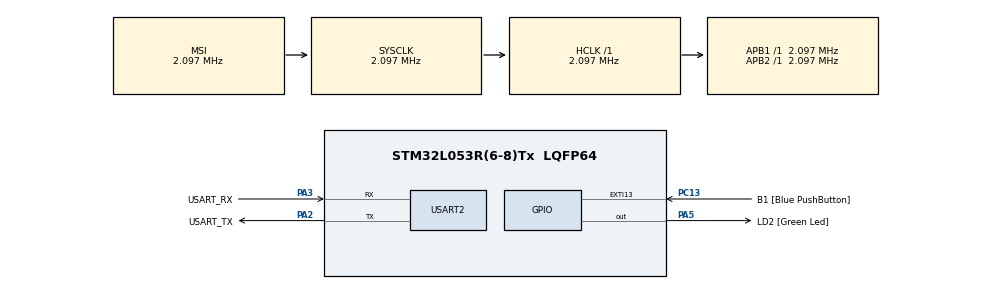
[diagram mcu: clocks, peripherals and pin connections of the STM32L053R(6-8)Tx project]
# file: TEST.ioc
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Mcu.Family=STM32L0
Mcu.Name=STM32L053R(6-8)Tx
Mcu.Package=LQFP64
NVIC.USART2_IRQn=true\:0\:0\:true\:false\:true\:true\:true\:false
PA13.GPIO_Label=TMS
PA13.Mode=Serial_Wire
PA13.Signal=SYS_SWDIO
PA14.GPIO_Label=TCK
PA14.Mode=Serial_Wire
PA14.Signal=SYS_SWCLK
PA2.GPIO_Label=USART_TX
PA2.Mode=Asynchronous
PA2.Signal=USART2_TX
PA3.GPIO_Label=USART_RX
PA3.Mode=Asynchronous
PA3.Signal=USART2_RX
PA5.GPIO_Label=LD2 [Green Led]
PA5.Signal=GPIO_Output
PC13.GPIO_Label=B1 [Blue PushButton]
PC13.GPIO_ModeDefaultEXTI=GPIO_MODE_IT_FALLING
PC13.Signal=GPXTI13
PC14-OSC32_IN.Mode=LSE-External-Oscillator
PC14-OSC32_IN.Signal=RCC_OSC32_IN
PC15-OSC32_OUT.Mode=LSE-External-Oscillator
PC15-OSC32_OUT.Signal=RCC_OSC32_OUT
PH0-OSC_IN.Mode=HSE-External-Clock-Source
PH0-OSC_IN.Signal=RCC_OSC_IN
PH1-OSC_OUT.Signal=RCC_OSC_OUT
ProjectManager.HeapSize=0x200
ProjectManager.StackSize=0x400
ProjectManager.TargetToolchain=CMake
RCC.AHBFreq_Value=2097000
RCC.APB1Freq_Value=2097000
RCC.APB1TimFreq_Value=2097000
RCC.APB2Freq_Value=2097000
RCC.APB2TimFreq_Value=2097000
RCC.HSE_VALUE=8000000
RCC.HSI16_VALUE=16000000
RCC.HSI48_VALUE=48000000
RCC.HSI_VALUE=16000000
RCC.MSI_VALUE=2097000
RCC.SYSCLKFreq_VALUE=2097000
RCC.VCOOutputFreq_Value=48000000
USART2.VirtualMode-Asynchronous=VM_ASYNC
board=NUCLEO-L053R8

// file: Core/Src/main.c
/* USER CODE BEGIN Header */
/**
  ******************************************************************************
  * @file           : main.c
  * @brief          : Main program body for MPPT communication via UART.
  ******************************************************************************
  * @attention
  *
  * (License text here)
  *
  ******************************************************************************
  */
/* USER CODE END Header */
#include "main.h"

/* USER CODE BEGIN Includes */
#include <string.h>
#include "mppt.h"
#include <stdio.h>
#include <stdlib.h>
/* USER CODE END Includes */

UART_HandleTypeDef huart2;

/* USER CODE BEGIN PV */
MPPT_t mppt;

uint8_t rx_byte;
char uart_rx_buffer[128];
char uart_tx_buffer[128];
volatile uint8_t idx = 0;
volatile uint8_t line_received = 0;
/* USER CODE END PV */

void SystemClock_Config(void);
static void MX_GPIO_Init(void);
static void MX_USART2_UART_Init(void);

/* USER CODE BEGIN 0 */

/**
  * @brief Callback that is called when a UART byte is received via interrupt.
  *        It accumulates bytes into uart_rx_buffer until a newline is received.
*/

void HAL_UART_RxCpltCallback(UART_HandleTypeDef *huart)
{
  if (huart->Instance == USART2)
  {
    //char dbg[32];
    //snprintf(dbg, sizeof(dbg), "Got: 0x%02X\r\n", rx_byte);
    //HAL_UART_Transmit(&huart2, (uint8_t*)dbg, strlen(dbg), HAL_MAX_DELAY);
    if (rx_byte == '\n' || rx_byte == '\r') {
      uart_rx_buffer[idx++] = '\n';
      uart_rx_buffer[idx] = '\0';
      line_received = 1;
    }
    else {
      if (idx < sizeof(uart_rx_buffer) - 1) {
        uart_rx_buffer[idx++] = rx_byte;
      } else {
        idx = 0;  // overflow protection
      }
    }
    HAL_GPIO_TogglePin(B1_GPIO_Port, B1_Pin);
    // Restart reception
    HAL_UART_Receive_IT(&huart2, &rx_byte, 1);
  }
}
/* USER CODE END 0 */
int main(void)
{
  /* MCU Configuration--------------------------------------------------------*/

  /* Reset of all peripherals, Initializes the Flash interface and the Systick. */
  HAL_Init();

  /* Configure the system clock */
  SystemClock_Config();

  /* Initialize all configured peripherals */
  MX_GPIO_Init();
  MX_USART2_UART_Init();

  /* USER CODE BEGIN 2 */
  MPPT_Init(&mppt);
  // Start interrupt-based receive

  HAL_UART_Receive_IT(&huart2, &rx_byte, 1);

  /* USER CODE END 2 */

  /* Infinite loop */
  /* USER CODE BEGIN WHILE */
  while (1)
  {
    if(line_received)
    {
    float voltage = 0.0f, current = 0.0f;
    //char debug_buff[64];
    // Look for 'v' and 'i' in the buffer
    char *v_ptr = strchr((char*)uart_rx_buffer,'v');  // or 'V'
    char *i_ptr = strchr((char*)uart_rx_buffer, 'i');  // or 'I'

      if (v_ptr && i_ptr){
        voltage = strtof(v_ptr + 1, NULL);  // text after 'v'
        current = strtof(i_ptr + 1, NULL);  // text after 'i'

        //snprintf(debug_buff, sizeof(debug_buff), "V=%.2f I=%.2f\r\n", voltage, current);
        //HAL_UART_Transmit(&huart2, (uint8_t *)uart_rx_buffer, idx, HAL_MAX_DELAY);
        idx = 0;
        line_received = 0;

        // Call your MPPT logic here (if needed)
        MPPT_Update(&mppt, voltage, current);

        // Send back the computed duty cycle
        snprintf(uart_tx_buffer, sizeof(uart_tx_buffer), "%.2f", mppt.duty_cycle);
        HAL_UART_Transmit(&huart2, (uint8_t *)uart_tx_buffer, strlen(uart_tx_buffer), HAL_MAX_DELAY);
      }
      else
      {
          const char *error = "Parse error: V= or I= not found\n";
          HAL_UART_Transmit(&huart2, (uint8_t *)error, strlen(error), HAL_MAX_DELAY);
          idx = 0;
          line_received = 0;
      }

      HAL_UART_Transmit(&huart2, (uint8_t*)uart_rx_buffer, idx, HAL_MAX_DELAY);

    }
    HAL_GPIO_TogglePin(LD2_GPIO_Port,LD2_Pin);
    HAL_Delay(500);
  }
  /* USER CODE END WHILE */

}

void SystemClock_Config(void)
{
  RCC_OscInitTypeDef RCC_OscInitStruct = {0};
  RCC_ClkInitTypeDef RCC_ClkInitStruct = {0};
  RCC_PeriphCLKInitTypeDef PeriphClkInit = {0};

  __HAL_PWR_VOLTAGESCALING_CONFIG(PWR_REGULATOR_VOLTAGE_SCALE1);
  RCC_OscInitStruct.OscillatorType = RCC_OSCILLATORTYPE_MSI;
  RCC_OscInitStruct.MSIState = RCC_MSI_ON;
  RCC_OscInitStruct.MSICalibrationValue = 0;
  RCC_OscInitStruct.MSIClockRange = RCC_MSIRANGE_5;
  RCC_OscInitStruct.PLL.PLLState = RCC_PLL_NONE;
  if (HAL_RCC_OscConfig(&RCC_OscInitStruct) != HAL_OK)
  {
    Error_Handler();
  }
  RCC_ClkInitStruct.ClockType = RCC_CLOCKTYPE_HCLK | RCC_CLOCKTYPE_SYSCLK
                                | RCC_CLOCKTYPE_PCLK1 | RCC_CLOCKTYPE_PCLK2;
  RCC_ClkInitStruct.SYSCLKSource = RCC_SYSCLKSOURCE_MSI;
  RCC_ClkInitStruct.AHBCLKDivider = RCC_SYSCLK_DIV1;
  RCC_ClkInitStruct.APB1CLKDivider = RCC_HCLK_DIV1;
  RCC_ClkInitStruct.APB2CLKDivider = RCC_HCLK_DIV1;
  if (HAL_RCC_ClockConfig(&RCC_ClkInitStruct, FLASH_LATENCY_0) != HAL_OK)
  {
    Error_Handler();
  }
  PeriphClkInit.PeriphClockSelection = RCC_PERIPHCLK_USART2;
  PeriphClkInit.Usart2ClockSelection = RCC_USART2CLKSOURCE_PCLK1;
  if (HAL_RCCEx_PeriphCLKConfig(&PeriphClkInit) != HAL_OK)
  {
    Error_Handler();
  }
}

static void MX_USART2_UART_Init(void)
{
  huart2.Instance = USART2;
  huart2.Init.BaudRate = 115200;
  huart2.Init.WordLength = UART_WORDLENGTH_8B;
  huart2.Init.StopBits = UART_STOPBITS_1;
  huart2.Init.Parity = UART_PARITY_NONE;
  huart2.Init.Mode = UART_MODE_TX_RX;
  huart2.Init.HwFlowCtl = UART_HWCONTROL_NONE;
  huart2.Init.OverSampling = UART_OVERSAMPLING_16;
  huart2.Init.OneBitSampling = UART_ONE_BIT_SAMPLE_DISABLE;
  huart2.AdvancedInit.AdvFeatureInit = UART_ADVFEATURE_NO_INIT;

  if (HAL_UART_Init(&huart2) != HAL_OK)
  {
    Error_Handler();
  }
  //Routing interrupt to HAL_UART_RxCpltCallback() function
  HAL_NVIC_SetPriority(USART2_IRQn, 0, 0);
  HAL_NVIC_EnableIRQ(USART2_IRQn);
}

static void MX_GPIO_Init(void)
{
  GPIO_InitTypeDef GPIO_InitStruct = {0};
  __HAL_RCC_GPIOC_CLK_ENABLE();
  __HAL_RCC_GPIOH_CLK_ENABLE();
  __HAL_RCC_GPIOA_CLK_ENABLE();

  HAL_GPIO_WritePin(LD2_GPIO_Port, LD2_Pin, GPIO_PIN_RESET);

  GPIO_InitStruct.Pin = B1_Pin;
  GPIO_InitStruct.Mode = GPIO_MODE_IT_FALLING;
  GPIO_InitStruct.Pull = GPIO_NOPULL;
  HAL_GPIO_Init(B1_GPIO_Port, &GPIO_InitStruct);

  GPIO_InitStruct.Pin = LD2_Pin;
  GPIO_InitStruct.Mode = GPIO_MODE_OUTPUT_PP;
  GPIO_InitStruct.Pull = GPIO_NOPULL;
  GPIO_InitStruct.Speed = GPIO_SPEED_FREQ_LOW;
  HAL_GPIO_Init(LD2_GPIO_Port, &GPIO_InitStruct);
}

void Error_Handler(void)
{
  __disable_irq();
  while (1)
  {
  }
}
